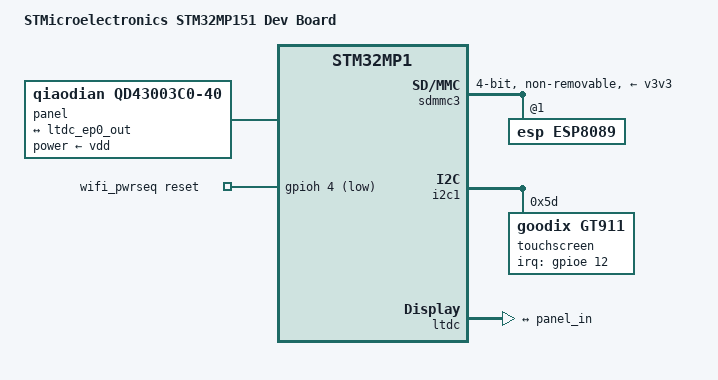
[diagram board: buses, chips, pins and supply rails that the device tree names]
// SPDX-License-Identifier: (GPL-2.0+ OR BSD-3-Clause)
/*
 * Copyright (C) STMicroelectronics 2019 - All Rights Reserved
 * Author: Alexandre Torgue <alexandre.torgue@st.com> for STMicroelectronics.
 */

/dts-v1/;

#include "stm32mp151.dtsi"
#include "stm32mp15xc.dtsi"
#include "stm32mp15-pinctrl.dtsi"
#include "stm32mp15xxac-pinctrl.dtsi"
#include "stm32mp151_dev_board.dtsi"

/ {
	model = "STMicroelectronics STM32MP151 Dev Board";
	compatible = "st,stm32mp151", "st,stm32mp1";

	aliases {
		serial0 = &uart4;
		serial1 = &usart3;
		serial2 = &uart7;
		serial3 = &usart2;
	};

	chosen {
		stdout-path = "serial0:115200n8";
	};

	// Orient Display 480x272
	panel {
		status = "okay";
		compatible = "qiaodian,qd43003c0-40", "simple-panel";
		power-supply = <&vdd>;
		ports {
			#address-cells = <1>;
			#size-cells = <0>;

			port@0 {
				reg = <0>;
				panel_in: endpoint {
					remote-endpoint = <&ltdc_ep0_out>;
				};
			};
		};
	};

	/*
	// MYIC display
	panel {
		status = "okay";
		compatible = "cdtech,s070pws19hp-fc21", "simple-panel";
		power-supply = <&vdd>;
		//enable-gpios = <&gpioi 3 GPIO_ACTIVE_HIGH>;

		display-timings {
						timing0: timing0 {
						clock-frequency = <33300000>;
							hactive = <800>;
							vactive = <480>;
							hfront-porch = <210>;
							hback-porch = <46>;
							hsync-len = <46>;
							vback-porch = <23>;
							vfront-porch = <22>;
							vsync-len = <23>;
							hsync-active = <0>;
							vsync-active = <0>;
							de-active = <0>;
							pixelclk-active = <1>;

			};
		};
		port@0 {
			reg = <0>;
			panel_in: endpoint {
				remote-endpoint = <&ltdc_ep0_out>;
			};
		};
	};
	*/
	
	// WiFi Power Sequence (WIFI_UP)
	wifi_pwrseq: wifi_pwrseq {
		compatible = "mmc-pwrseq-simple";
		reset-gpios = <&gpioh 4 GPIO_ACTIVE_LOW>; // PH4
		post-power-on-delay-ms = <200>;
	};
};

/*
 * WiFi
 */
&sdmmc3 {
	arm,primecell-periphid = <0x10153180>;
	pinctrl-names = "default", "opendrain", "sleep";
	pinctrl-0 = <&sdmmc3_b4_pins_a>;
	pinctrl-1 = <&sdmmc3_b4_od_pins_a>;
	pinctrl-2 = <&sdmmc3_b4_sleep_pins_a>;
	broken-cd;
	non-removable;
	st,neg-edge;
	bus-width = <4>;
	vmmc-supply = <&v3v3>;
	mmc-pwrseq = <&wifi_pwrseq>;
	status = "okay";

	esp8089: sdio_wifi@1 {
		compatible = "esp,esp8089";
		reg = <1>;
		esp,crystal-26M-en = <2>;
	};
};

&i2c1 {
	
	//Orient Display Touch Panel
	touchscreen@5d {
		compatible = "goodix,gt911";
		reg = <0x5d>; //0x5d or 0x14
		interrupts = <12 2>;
		interrupt-parent = <&gpioe>;
		interrupt-controller;
		touchscreen-size-x = <480>;
		touchscreen-size-y = <272>;
		status = "okay";
	};
	
	/*
	//MYIC LCD Touch Panel
	touchscreen@38 {
		compatible = "edt,edt-ft5306";
		reg = <0x38>; //0x38
		interrupts = <12 2>;
		interrupt-parent = <&gpioe>;
		interrupt-controller;
		touchscreen-size-x = <800>;
		touchscreen-size-y = <480>;
		status = "okay";
	};
	*/
};

&ltdc {
	status = "okay";
	pinctrl-names = "default", "sleep";
	pinctrl-0 = <&ltdc_pins_mx>;
	pinctrl-1 = <&ltdc_sleep_pins_mx>;

	port {
		ltdc_ep0_out: endpoint@0 {
			reg = <0>;
			remote-endpoint = <&panel_in>;
		};
	};
};


